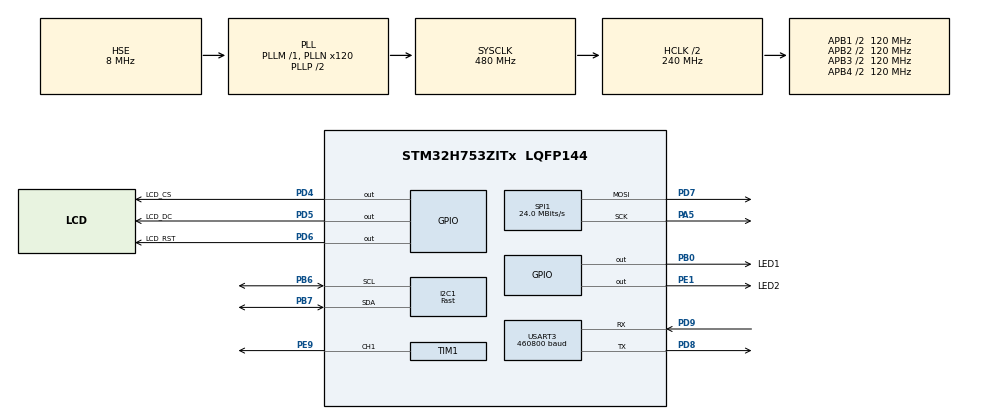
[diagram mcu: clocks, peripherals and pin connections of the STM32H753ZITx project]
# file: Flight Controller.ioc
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CORTEX_M7.CPU_ICache=Enabled
CORTEX_M7.default_mode_Activation=1
FREERTOS.Mutexes01=sharedMutex,Dynamic,NULL,Available
FREERTOS.Tasks01=ControlTask,40,512,StartControlTask,Default,NULL,Dynamic,NULL,NULL;DisplayTask,16,1024,StartDisplayTask,As external,NULL,Dynamic,NULL,NULL;TelemetryTask,8,1024,StartTelemetryTask,As external,NULL,Dynamic,NULL,NULL
FREERTOS.configCHECK_FOR_STACK_OVERFLOW=2
FREERTOS.configTOTAL_HEAP_SIZE=32768
FREERTOS.configUSE_MALLOC_FAILED_HOOK=1
FREERTOS.configUSE_NEWLIB_REENTRANT=1
I2C1.I2C_Speed_Mode=I2C_Fast
I2C1.Timing=0x00B03FDB
Mcu.Family=STM32H7
Mcu.Name=STM32H753ZITx
Mcu.Package=LQFP144
NVIC.PriorityGroup=NVIC_PRIORITYGROUP_4
NVIC.TIM6_DAC_IRQn=true\:15\:0\:false\:false\:true\:false\:false\:true\:true
NVIC.TimeBase=TIM6_DAC_IRQn
NVIC.TimeBaseIP=TIM6
PA13\ (JTMS/SWDIO).Mode=Serial_Wire
PA13\ (JTMS/SWDIO).Signal=DEBUG_JTMS-SWDIO
PA14\ (JTCK/SWCLK).Mode=Serial_Wire
PA14\ (JTCK/SWCLK).Signal=DEBUG_JTCK-SWCLK
PA5.GPIO_Speed=GPIO_SPEED_FREQ_VERY_HIGH
PA5.Mode=TX_Only_Simplex_Unidirect_Master
PA5.Signal=SPI1_SCK
PB0.GPIO_Label=LED1
PB0.Signal=GPIO_Output
PB6.Mode=I2C
PB6.Signal=I2C1_SCL
PB7.Mode=I2C
PB7.Signal=I2C1_SDA
PD4.GPIO_Label=LCD_CS
PD4.PinState=GPIO_PIN_SET
PD4.Signal=GPIO_Output
PD5.GPIO_Label=LCD_DC
PD5.Signal=GPIO_Output
PD6.GPIO_Label=LCD_RST
PD6.PinState=GPIO_PIN_SET
PD6.Signal=GPIO_Output
PD7.GPIO_Speed=GPIO_SPEED_FREQ_VERY_HIGH
PD7.Mode=TX_Only_Simplex_Unidirect_Master
PD7.Signal=SPI1_MOSI
PD8.Mode=Asynchronous
PD8.Signal=USART3_TX
PD9.Mode=Asynchronous
PD9.Signal=USART3_RX
PE1.GPIO_Label=LED2
PE1.Signal=GPIO_Output
PE9.Signal=S_TIM1_CH1
PH0-OSC_IN\ (PH0).Mode=HSE-External-Clock-Source
PH0-OSC_IN\ (PH0).Signal=RCC_OSC_IN
ProjectManager.HeapSize=0x200
ProjectManager.StackSize=0x400
ProjectManager.TargetToolchain=STM32CubeIDE
RCC.ADCFreq_Value=16125000
RCC.APB1Freq_Value=120000000
RCC.APB2Freq_Value=120000000
RCC.APB3Freq_Value=120000000
RCC.APB4Freq_Value=120000000
RCC.CortexFreq_Value=480000000
RCC.D1PPRE=RCC_APB3_DIV2
RCC.D2PPRE1=RCC_APB1_DIV2
RCC.D2PPRE2=RCC_APB2_DIV2
RCC.D3PPRE=RCC_APB4_DIV2
RCC.DIVM1=1
RCC.DIVN1=120
RCC.DIVQ1=5
RCC.HCLKFreq_Value=240000000
RCC.HPRE=RCC_HCLK_DIV2
RCC.HSE_VALUE=8000000
RCC.PLLFRACN=0
RCC.PLLSourceVirtual=RCC_PLLSOURCE_HSE
RCC.SYSCLKFreq_VALUE=480000000
RCC.SYSCLKSource=RCC_SYSCLKSOURCE_PLLCLK
RCC.USBFreq_Value=192000000
SH.S_TIM1_CH1.0=TIM1_CH1,PWM Generation1 CH1
SPI1.BaudRatePrescaler=SPI_BAUDRATEPRESCALER_8
SPI1.CalculateBaudRate=24.0 MBits/s
SPI1.DataSize=SPI_DATASIZE_8BIT
SPI1.Direction=SPI_DIRECTION_2LINES_TXONLY
SPI1.Mode=SPI_MODE_MASTER
SPI1.VirtualType=VM_MASTER
TIM1.Channel-PWM\ Generation1\ CH1=TIM_CHANNEL_1
TIM1.Period=19999
TIM1.Prescaler=239
TIM1.Pulse-PWM\ Generation1\ CH1=1500
TIM2.Prescaler=239
USART3.BaudRate=460800
USART3.VirtualMode-Asynchronous=VM_ASYNC
VP_FREERTOS_VS_CMSIS_V2.Mode=CMSIS_V2
VP_MEMORYMAP_VS_MEMORYMAP.Mode=CurAppReg
VP_SYS_VS_tim6.Mode=TIM6
VP_TIM1_VS_ClockSourceINT.Mode=Internal
VP_TIM2_VS_ClockSourceINT.Mode=Internal
board=custom

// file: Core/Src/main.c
/* USER CODE BEGIN Header */
/**
  ******************************************************************************
  * @file           : main.c
  * @brief          : Main program body
  ******************************************************************************
  * @attention
  *
  * Copyright (c) 2026 STMicroelectronics.
  * All rights reserved.
  *
  * This software is licensed under terms that can be found in the LICENSE file
  * in the root directory of this software component.
  * If no LICENSE file comes with this software, it is provided AS-IS.
  *
  ******************************************************************************
  */
/* USER CODE END Header */
#include "main.h"
#include "FreeRTOS.h"
#include "cmsis_os2.h"

/* USER CODE BEGIN Includes */
#include "ili9341.h"
#include "mpu6050.h"
#include "util.h"
#include "ui_elements.h"
#include "app_config.h"
#include "spleen_fonts.h"
#include <stdio.h>
#include "app_tasks.h"
#include "servo.h"
/* USER CODE END Includes */

I2C_HandleTypeDef hi2c1;

SPI_HandleTypeDef hspi1;

TIM_HandleTypeDef htim1;
TIM_HandleTypeDef htim2;

UART_HandleTypeDef huart3;

/* Definitions for ControlTask */
osThreadId_t ControlTaskHandle;
const osThreadAttr_t ControlTask_attributes = {
  .name = "ControlTask",
  .stack_size = 512 * 4,
  .priority = (osPriority_t) osPriorityHigh,
};
/* Definitions for DisplayTask */
osThreadId_t DisplayTaskHandle;
const osThreadAttr_t DisplayTask_attributes = {
  .name = "DisplayTask",
  .stack_size = 1024 * 4,
  .priority = (osPriority_t) osPriorityBelowNormal,
};
/* Definitions for TelemetryTask */
osThreadId_t TelemetryTaskHandle;
const osThreadAttr_t TelemetryTask_attributes = {
  .name = "TelemetryTask",
  .stack_size = 1024 * 4,
  .priority = (osPriority_t) osPriorityLow,
};
/* Definitions for sharedMutex */
osMutexId_t sharedMutexHandle;
const osMutexAttr_t sharedMutex_attributes = {
  .name = "sharedMutex"
};

void SystemClock_Config(void);
static void MPU_Config(void);
static void MX_GPIO_Init(void);
static void MX_SPI1_Init(void);
static void MX_USART3_UART_Init(void);
static void MX_I2C1_Init(void);
static void MX_TIM2_Init(void);
static void MX_TIM1_Init(void);
void StartControlTask(void *argument);
extern void StartDisplayTask(void *argument);
extern void StartTelemetryTask(void *argument);

int main(void)
{

  /* MPU Configuration--------------------------------------------------------*/
  MPU_Config();

  /* Enable the CPU Cache */

  /* Enable I-Cache---------------------------------------------------------*/
  SCB_EnableICache();

  /* MCU Configuration--------------------------------------------------------*/

  /* Reset of all peripherals, Initializes the Flash interface and the Systick. */
  HAL_Init();

  /* Configure the system clock */
  SystemClock_Config();

  /* Initialize all configured peripherals */
  MX_GPIO_Init();
  MX_SPI1_Init();
  MX_USART3_UART_Init();
  MX_I2C1_Init();
  MX_TIM2_Init();
  MX_TIM1_Init();
  /* USER CODE BEGIN 2 */
  ILI9341_Init(&hspi1);
  ILI9341_SetFont(&Font_Spleen_16x32);

  HAL_TIM_Base_Start(&htim2);
  HAL_TIM_PWM_Start(&htim1, TIM_CHANNEL_1);

  /* USER CODE END 2 */

  /* Init scheduler */
  osKernelInitialize();
  /* Create the mutex(es) */
  /* creation of sharedMutex */
  sharedMutexHandle = osMutexNew(&sharedMutex_attributes);

  /* Create the thread(s) */
  /* creation of ControlTask */
  ControlTaskHandle = osThreadNew(StartControlTask, NULL, &ControlTask_attributes);

  /* creation of DisplayTask */
  DisplayTaskHandle = osThreadNew(StartDisplayTask, NULL, &DisplayTask_attributes);

  /* creation of TelemetryTask */
  TelemetryTaskHandle = osThreadNew(StartTelemetryTask, NULL, &TelemetryTask_attributes);

  /* Start scheduler */
  osKernelStart();

  /* We should never get here as control is now taken by the scheduler */

  /* Infinite loop */
  while (1)
  {

  }
}

void SystemClock_Config(void)
{
  RCC_OscInitTypeDef RCC_OscInitStruct = {0};
  RCC_ClkInitTypeDef RCC_ClkInitStruct = {0};

  /** Supply configuration update enable
  */
  HAL_PWREx_ConfigSupply(PWR_LDO_SUPPLY);

  /** Configure the main internal regulator output voltage
  */
  __HAL_PWR_VOLTAGESCALING_CONFIG(PWR_REGULATOR_VOLTAGE_SCALE0);

  while(!__HAL_PWR_GET_FLAG(PWR_FLAG_VOSRDY)) {}

  /** Initializes the RCC Oscillators according to the specified parameters
  * in the RCC_OscInitTypeDef structure.
  */
  RCC_OscInitStruct.OscillatorType = RCC_OSCILLATORTYPE_HSE;
  RCC_OscInitStruct.HSEState = RCC_HSE_BYPASS;
  RCC_OscInitStruct.PLL.PLLState = RCC_PLL_ON;
  RCC_OscInitStruct.PLL.PLLSource = RCC_PLLSOURCE_HSE;
  RCC_OscInitStruct.PLL.PLLM = 1;
  RCC_OscInitStruct.PLL.PLLN = 120;
  RCC_OscInitStruct.PLL.PLLP = 2;
  RCC_OscInitStruct.PLL.PLLQ = 5;
  RCC_OscInitStruct.PLL.PLLR = 2;
  RCC_OscInitStruct.PLL.PLLRGE = RCC_PLL1VCIRANGE_3;
  RCC_OscInitStruct.PLL.PLLVCOSEL = RCC_PLL1VCOWIDE;
  RCC_OscInitStruct.PLL.PLLFRACN = 0;
  if (HAL_RCC_OscConfig(&RCC_OscInitStruct) != HAL_OK)
  {
    Error_Handler();
  }

  /** Initializes the CPU, AHB and APB buses clocks
  */
  RCC_ClkInitStruct.ClockType = RCC_CLOCKTYPE_HCLK|RCC_CLOCKTYPE_SYSCLK
                              |RCC_CLOCKTYPE_PCLK1|RCC_CLOCKTYPE_PCLK2
                              |RCC_CLOCKTYPE_D3PCLK1|RCC_CLOCKTYPE_D1PCLK1;
  RCC_ClkInitStruct.SYSCLKSource = RCC_SYSCLKSOURCE_PLLCLK;
  RCC_ClkInitStruct.SYSCLKDivider = RCC_SYSCLK_DIV1;
  RCC_ClkInitStruct.AHBCLKDivider = RCC_HCLK_DIV2;
  RCC_ClkInitStruct.APB3CLKDivider = RCC_APB3_DIV2;
  RCC_ClkInitStruct.APB1CLKDivider = RCC_APB1_DIV2;
  RCC_ClkInitStruct.APB2CLKDivider = RCC_APB2_DIV2;
  RCC_ClkInitStruct.APB4CLKDivider = RCC_APB4_DIV2;

  if (HAL_RCC_ClockConfig(&RCC_ClkInitStruct, FLASH_LATENCY_4) != HAL_OK)
  {
    Error_Handler();
  }
}

static void MX_I2C1_Init(void)
{

  hi2c1.Instance = I2C1;
  hi2c1.Init.Timing = 0x00B03FDB;
  hi2c1.Init.OwnAddress1 = 0;
  hi2c1.Init.AddressingMode = I2C_ADDRESSINGMODE_7BIT;
  hi2c1.Init.DualAddressMode = I2C_DUALADDRESS_DISABLE;
  hi2c1.Init.OwnAddress2 = 0;
  hi2c1.Init.OwnAddress2Masks = I2C_OA2_NOMASK;
  hi2c1.Init.GeneralCallMode = I2C_GENERALCALL_DISABLE;
  hi2c1.Init.NoStretchMode = I2C_NOSTRETCH_DISABLE;
  if (HAL_I2C_Init(&hi2c1) != HAL_OK)
  {
    Error_Handler();
  }

  /** Configure Analogue filter
  */
  if (HAL_I2CEx_ConfigAnalogFilter(&hi2c1, I2C_ANALOGFILTER_ENABLE) != HAL_OK)
  {
    Error_Handler();
  }

  /** Configure Digital filter
  */
  if (HAL_I2CEx_ConfigDigitalFilter(&hi2c1, 0) != HAL_OK)
  {
    Error_Handler();
  }

}

static void MX_SPI1_Init(void)
{

  /* SPI1 parameter configuration*/
  hspi1.Instance = SPI1;
  hspi1.Init.Mode = SPI_MODE_MASTER;
  hspi1.Init.Direction = SPI_DIRECTION_2LINES_TXONLY;
  hspi1.Init.DataSize = SPI_DATASIZE_8BIT;
  hspi1.Init.CLKPolarity = SPI_POLARITY_LOW;
  hspi1.Init.CLKPhase = SPI_PHASE_1EDGE;
  hspi1.Init.NSS = SPI_NSS_SOFT;
  hspi1.Init.BaudRatePrescaler = SPI_BAUDRATEPRESCALER_8;
  hspi1.Init.FirstBit = SPI_FIRSTBIT_MSB;
  hspi1.Init.TIMode = SPI_TIMODE_DISABLE;
  hspi1.Init.CRCCalculation = SPI_CRCCALCULATION_DISABLE;
  hspi1.Init.CRCPolynomial = 0x0;
  hspi1.Init.NSSPMode = SPI_NSS_PULSE_ENABLE;
  hspi1.Init.NSSPolarity = SPI_NSS_POLARITY_LOW;
  hspi1.Init.FifoThreshold = SPI_FIFO_THRESHOLD_01DATA;
  hspi1.Init.TxCRCInitializationPattern = SPI_CRC_INITIALIZATION_ALL_ZERO_PATTERN;
  hspi1.Init.RxCRCInitializationPattern = SPI_CRC_INITIALIZATION_ALL_ZERO_PATTERN;
  hspi1.Init.MasterSSIdleness = SPI_MASTER_SS_IDLENESS_00CYCLE;
  hspi1.Init.MasterInterDataIdleness = SPI_MASTER_INTERDATA_IDLENESS_00CYCLE;
  hspi1.Init.MasterReceiverAutoSusp = SPI_MASTER_RX_AUTOSUSP_DISABLE;
  hspi1.Init.MasterKeepIOState = SPI_MASTER_KEEP_IO_STATE_DISABLE;
  hspi1.Init.IOSwap = SPI_IO_SWAP_DISABLE;
  if (HAL_SPI_Init(&hspi1) != HAL_OK)
  {
    Error_Handler();
  }

}

static void MX_TIM1_Init(void)
{

  TIM_ClockConfigTypeDef sClockSourceConfig = {0};
  TIM_MasterConfigTypeDef sMasterConfig = {0};
  TIM_OC_InitTypeDef sConfigOC = {0};
  TIM_BreakDeadTimeConfigTypeDef sBreakDeadTimeConfig = {0};

  htim1.Instance = TIM1;
  htim1.Init.Prescaler = 239;
  htim1.Init.CounterMode = TIM_COUNTERMODE_UP;
  htim1.Init.Period = 19999;
  htim1.Init.ClockDivision = TIM_CLOCKDIVISION_DIV1;
  htim1.Init.RepetitionCounter = 0;
  htim1.Init.AutoReloadPreload = TIM_AUTORELOAD_PRELOAD_DISABLE;
  if (HAL_TIM_Base_Init(&htim1) != HAL_OK)
  {
    Error_Handler();
  }
  sClockSourceConfig.ClockSource = TIM_CLOCKSOURCE_INTERNAL;
  if (HAL_TIM_ConfigClockSource(&htim1, &sClockSourceConfig) != HAL_OK)
  {
    Error_Handler();
  }
  if (HAL_TIM_PWM_Init(&htim1) != HAL_OK)
  {
    Error_Handler();
  }
  sMasterConfig.MasterOutputTrigger = TIM_TRGO_RESET;
  sMasterConfig.MasterOutputTrigger2 = TIM_TRGO2_RESET;
  sMasterConfig.MasterSlaveMode = TIM_MASTERSLAVEMODE_DISABLE;
  if (HAL_TIMEx_MasterConfigSynchronization(&htim1, &sMasterConfig) != HAL_OK)
  {
    Error_Handler();
  }
  sConfigOC.OCMode = TIM_OCMODE_PWM1;
  sConfigOC.Pulse = 1500;
  sConfigOC.OCPolarity = TIM_OCPOLARITY_HIGH;
  sConfigOC.OCNPolarity = TIM_OCNPOLARITY_HIGH;
  sConfigOC.OCFastMode = TIM_OCFAST_DISABLE;
  sConfigOC.OCIdleState = TIM_OCIDLESTATE_RESET;
  sConfigOC.OCNIdleState = TIM_OCNIDLESTATE_RESET;
  if (HAL_TIM_PWM_ConfigChannel(&htim1, &sConfigOC, TIM_CHANNEL_1) != HAL_OK)
  {
    Error_Handler();
  }
  sBreakDeadTimeConfig.OffStateRunMode = TIM_OSSR_DISABLE;
  sBreakDeadTimeConfig.OffStateIDLEMode = TIM_OSSI_DISABLE;
  sBreakDeadTimeConfig.LockLevel = TIM_LOCKLEVEL_OFF;
  sBreakDeadTimeConfig.DeadTime = 0;
  sBreakDeadTimeConfig.BreakState = TIM_BREAK_DISABLE;
  sBreakDeadTimeConfig.BreakPolarity = TIM_BREAKPOLARITY_HIGH;
  sBreakDeadTimeConfig.BreakFilter = 0;
  sBreakDeadTimeConfig.Break2State = TIM_BREAK2_DISABLE;
  sBreakDeadTimeConfig.Break2Polarity = TIM_BREAK2POLARITY_HIGH;
  sBreakDeadTimeConfig.Break2Filter = 0;
  sBreakDeadTimeConfig.AutomaticOutput = TIM_AUTOMATICOUTPUT_DISABLE;
  if (HAL_TIMEx_ConfigBreakDeadTime(&htim1, &sBreakDeadTimeConfig) != HAL_OK)
  {
    Error_Handler();
  }
  HAL_TIM_MspPostInit(&htim1);

}

static void MX_TIM2_Init(void)
{

  TIM_ClockConfigTypeDef sClockSourceConfig = {0};
  TIM_MasterConfigTypeDef sMasterConfig = {0};

  htim2.Instance = TIM2;
  htim2.Init.Prescaler = 239;
  htim2.Init.CounterMode = TIM_COUNTERMODE_UP;
  htim2.Init.Period = 4294967295;
  htim2.Init.ClockDivision = TIM_CLOCKDIVISION_DIV1;
  htim2.Init.AutoReloadPreload = TIM_AUTORELOAD_PRELOAD_DISABLE;
  if (HAL_TIM_Base_Init(&htim2) != HAL_OK)
  {
    Error_Handler();
  }
  sClockSourceConfig.ClockSource = TIM_CLOCKSOURCE_INTERNAL;
  if (HAL_TIM_ConfigClockSource(&htim2, &sClockSourceConfig) != HAL_OK)
  {
    Error_Handler();
  }
  sMasterConfig.MasterOutputTrigger = TIM_TRGO_RESET;
  sMasterConfig.MasterSlaveMode = TIM_MASTERSLAVEMODE_DISABLE;
  if (HAL_TIMEx_MasterConfigSynchronization(&htim2, &sMasterConfig) != HAL_OK)
  {
    Error_Handler();
  }

}

static void MX_USART3_UART_Init(void)
{

  huart3.Instance = USART3;
  huart3.Init.BaudRate = 460800;
  huart3.Init.WordLength = UART_WORDLENGTH_8B;
  huart3.Init.StopBits = UART_STOPBITS_1;
  huart3.Init.Parity = UART_PARITY_NONE;
  huart3.Init.Mode = UART_MODE_TX_RX;
  huart3.Init.HwFlowCtl = UART_HWCONTROL_NONE;
  huart3.Init.OverSampling = UART_OVERSAMPLING_16;
  huart3.Init.OneBitSampling = UART_ONE_BIT_SAMPLE_DISABLE;
  huart3.Init.ClockPrescaler = UART_PRESCALER_DIV1;
  huart3.AdvancedInit.AdvFeatureInit = UART_ADVFEATURE_NO_INIT;
  if (HAL_UART_Init(&huart3) != HAL_OK)
  {
    Error_Handler();
  }
  if (HAL_UARTEx_SetTxFifoThreshold(&huart3, UART_TXFIFO_THRESHOLD_1_8) != HAL_OK)
  {
    Error_Handler();
  }
  if (HAL_UARTEx_SetRxFifoThreshold(&huart3, UART_RXFIFO_THRESHOLD_1_8) != HAL_OK)
  {
    Error_Handler();
  }
  if (HAL_UARTEx_DisableFifoMode(&huart3) != HAL_OK)
  {
    Error_Handler();
  }

}

static void MX_GPIO_Init(void)
{
  GPIO_InitTypeDef GPIO_InitStruct = {0};

  /* GPIO Ports Clock Enable */
  __HAL_RCC_GPIOH_CLK_ENABLE();
  __HAL_RCC_GPIOA_CLK_ENABLE();
  __HAL_RCC_GPIOB_CLK_ENABLE();
  __HAL_RCC_GPIOE_CLK_ENABLE();
  __HAL_RCC_GPIOD_CLK_ENABLE();

  /*Configure GPIO pin Output Level */
  HAL_GPIO_WritePin(LED1_GPIO_Port, LED1_Pin, GPIO_PIN_RESET);

  /*Configure GPIO pin Output Level */
  HAL_GPIO_WritePin(GPIOD, LCD_CS_Pin|LCD_RST_Pin, GPIO_PIN_SET);

  /*Configure GPIO pin Output Level */
  HAL_GPIO_WritePin(LCD_DC_GPIO_Port, LCD_DC_Pin, GPIO_PIN_RESET);

  /*Configure GPIO pin Output Level */
  HAL_GPIO_WritePin(LED2_GPIO_Port, LED2_Pin, GPIO_PIN_RESET);

  /*Configure GPIO pin : LED1_Pin */
  GPIO_InitStruct.Pin = LED1_Pin;
  GPIO_InitStruct.Mode = GPIO_MODE_OUTPUT_PP;
  GPIO_InitStruct.Pull = GPIO_NOPULL;
  GPIO_InitStruct.Speed = GPIO_SPEED_FREQ_LOW;
  HAL_GPIO_Init(LED1_GPIO_Port, &GPIO_InitStruct);

  /*Configure GPIO pins : LCD_CS_Pin LCD_DC_Pin LCD_RST_Pin */
  GPIO_InitStruct.Pin = LCD_CS_Pin|LCD_DC_Pin|LCD_RST_Pin;
  GPIO_InitStruct.Mode = GPIO_MODE_OUTPUT_PP;
  GPIO_InitStruct.Pull = GPIO_NOPULL;
  GPIO_InitStruct.Speed = GPIO_SPEED_FREQ_LOW;
  HAL_GPIO_Init(GPIOD, &GPIO_InitStruct);

  /*Configure GPIO pin : LED2_Pin */
  GPIO_InitStruct.Pin = LED2_Pin;
  GPIO_InitStruct.Mode = GPIO_MODE_OUTPUT_PP;
  GPIO_InitStruct.Pull = GPIO_NOPULL;
  GPIO_InitStruct.Speed = GPIO_SPEED_FREQ_LOW;
  HAL_GPIO_Init(LED2_GPIO_Port, &GPIO_InitStruct);

}

void StartControlTask(void *argument)
{
  /* USER CODE BEGIN 5 */
  /* Infinite loop */
	ControlTask_Run(argument);
  /* USER CODE END 5 */
}

 /* MPU Configuration */

void MPU_Config(void)
{
  MPU_Region_InitTypeDef MPU_InitStruct = {0};

  /* Disables the MPU */
  HAL_MPU_Disable();

  /** Initializes and configures the Region and the memory to be protected
  */
  MPU_InitStruct.Enable = MPU_REGION_ENABLE;
  MPU_InitStruct.Number = MPU_REGION_NUMBER0;
  MPU_InitStruct.BaseAddress = 0x0;
  MPU_InitStruct.Size = MPU_REGION_SIZE_4GB;
  MPU_InitStruct.SubRegionDisable = 0x87;
  MPU_InitStruct.TypeExtField = MPU_TEX_LEVEL0;
  MPU_InitStruct.AccessPermission = MPU_REGION_NO_ACCESS;
  MPU_InitStruct.DisableExec = MPU_INSTRUCTION_ACCESS_DISABLE;
  MPU_InitStruct.IsShareable = MPU_ACCESS_SHAREABLE;
  MPU_InitStruct.IsCacheable = MPU_ACCESS_NOT_CACHEABLE;
  MPU_InitStruct.IsBufferable = MPU_ACCESS_NOT_BUFFERABLE;

  HAL_MPU_ConfigRegion(&MPU_InitStruct);
  /* Enables the MPU */
  HAL_MPU_Enable(MPU_PRIVILEGED_DEFAULT);

}

void HAL_TIM_PeriodElapsedCallback(TIM_HandleTypeDef *htim)
{
  if (htim->Instance == TIM6)
  {
    HAL_IncTick();
  }
}

void Error_Handler(void)
{
  __disable_irq();
  while (1)
  {
  }
}

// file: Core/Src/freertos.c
/* USER CODE BEGIN Header */
/**
  ******************************************************************************
  * File Name          : freertos.c
  * Description        : Code for freertos applications
  ******************************************************************************
  * @attention
  *
  * Copyright (c) 2026 STMicroelectronics.
  * All rights reserved.
  *
  * This software is licensed under terms that can be found in the LICENSE file
  * in the root directory of this software component.
  * If no LICENSE file comes with this software, it is provided AS-IS.
  *
  ******************************************************************************
  */
/* USER CODE END Header */

#include "FreeRTOS.h"
#include "task.h"
#include "main.h"

/* Hook prototypes */
void vApplicationStackOverflowHook(xTaskHandle xTask, char *pcTaskName);
void vApplicationMallocFailedHook(void);

/* USER CODE BEGIN 4 */
void vApplicationStackOverflowHook(xTaskHandle xTask, char *pcTaskName)
{
   /* Run time stack overflow checking is performed if
   configCHECK_FOR_STACK_OVERFLOW is defined to 1 or 2. This hook function is
   called if a stack overflow is detected. */
	taskDISABLE_INTERRUPTS();
	for (;;) { HAL_GPIO_TogglePin(LED1_GPIO_Port, LED1_Pin); for (volatile uint32_t i = 0; i < 3000000; i++); }

}
/* USER CODE END 4 */

/* USER CODE BEGIN 5 */
void vApplicationMallocFailedHook(void)
{
   /* vApplicationMallocFailedHook() will only be called if
   configUSE_MALLOC_FAILED_HOOK is set to 1 in FreeRTOSConfig.h. It is a hook
   function that will get called if a call to pvPortMalloc() fails.
   pvPortMalloc() is called internally by the kernel whenever a task, queue,
   timer or semaphore is created. It is also called by various parts of the
   demo application. If heap_1.c or heap_2.c are used, then the size of the
   heap available to pvPortMalloc() is defined by configTOTAL_HEAP_SIZE in
   FreeRTOSConfig.h, and the xPortGetFreeHeapSize() API function can be used
   to query the size of free heap space that remains (although it does not
   provide information on how the remaining heap might be fragmented). */
	taskDISABLE_INTERRUPTS();
	for (;;) { HAL_GPIO_TogglePin(LED2_GPIO_Port, LED2_Pin); for (volatile uint32_t i = 0; i < 800000; i++); }

}
/* USER CODE END 5 */
